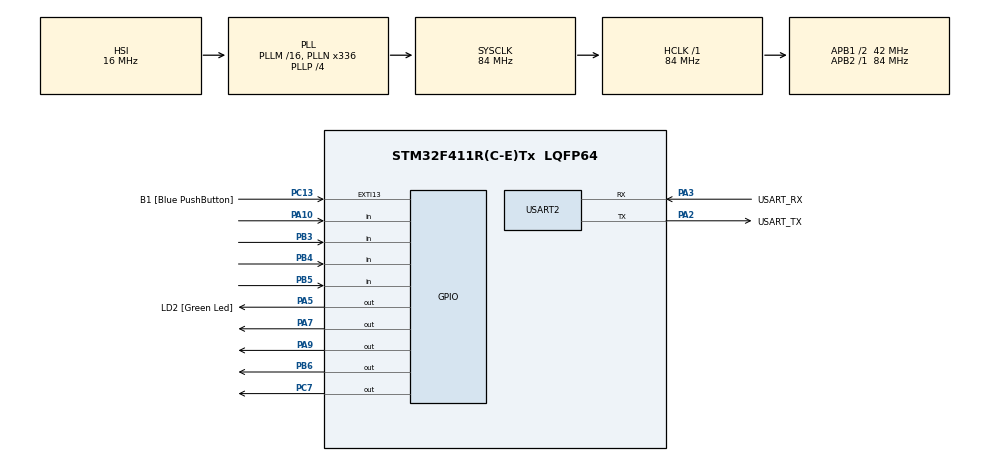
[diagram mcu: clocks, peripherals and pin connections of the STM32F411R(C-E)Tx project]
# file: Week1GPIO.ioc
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Mcu.Family=STM32F4
Mcu.Name=STM32F411R(C-E)Tx
Mcu.Package=LQFP64
NVIC.PriorityGroup=NVIC_PRIORITYGROUP_0
PA10.Signal=GPIO_Input
PA13.GPIO_Label=TMS
PA13.Mode=Serial_Wire
PA13.Signal=SYS_JTMS-SWDIO
PA14.GPIO_Label=TCK
PA14.Mode=Serial_Wire
PA14.Signal=SYS_JTCK-SWCLK
PA2.GPIO_Label=USART_TX
PA2.Mode=Asynchronous
PA2.Signal=USART2_TX
PA3.GPIO_Label=USART_RX
PA3.Mode=Asynchronous
PA3.Signal=USART2_RX
PA5.GPIO_Label=LD2 [Green Led]
PA5.Signal=GPIO_Output
PA7.Signal=GPIO_Output
PA9.Signal=GPIO_Output
PB3.Signal=GPIO_Input
PB4.Signal=GPIO_Input
PB5.Signal=GPIO_Input
PB6.Signal=GPIO_Output
PC13-ANTI_TAMP.GPIO_Label=B1 [Blue PushButton]
PC13-ANTI_TAMP.GPIO_ModeDefaultEXTI=GPIO_MODE_IT_FALLING
PC13-ANTI_TAMP.Signal=GPXTI13
PC14-OSC32_IN.Mode=LSE-External-Oscillator
PC14-OSC32_IN.Signal=RCC_OSC32_IN
PC15-OSC32_OUT.Mode=LSE-External-Oscillator
PC15-OSC32_OUT.Signal=RCC_OSC32_OUT
PC7.Signal=GPIO_Output
PH0\ -\ OSC_IN.Mode=HSE-External-Clock-Source
PH0\ -\ OSC_IN.Signal=RCC_OSC_IN
PH1\ -\ OSC_OUT.Mode=HSE-External-Clock-Source
PH1\ -\ OSC_OUT.Signal=RCC_OSC_OUT
ProjectManager.HeapSize=0x200
ProjectManager.StackSize=0x400
ProjectManager.TargetToolchain=STM32CubeIDE
RCC.48MHZClocksFreq_Value=84000000
RCC.AHBFreq_Value=84000000
RCC.APB1CLKDivider=RCC_HCLK_DIV2
RCC.APB1Freq_Value=42000000
RCC.APB1TimFreq_Value=84000000
RCC.APB2Freq_Value=84000000
RCC.APB2TimFreq_Value=84000000
RCC.CortexFreq_Value=84000000
RCC.FLatency-AdvancedSettings=FLASH_LATENCY_2
RCC.HCLKFreq_Value=84000000
RCC.HSE_VALUE=8000000
RCC.HSI_VALUE=16000000
RCC.PLLN=336
RCC.PLLP=RCC_PLLP_DIV4
RCC.SYSCLKFreq_VALUE=84000000
RCC.SYSCLKSource=RCC_SYSCLKSOURCE_PLLCLK
RCC.VCOOutputFreq_Value=336000000
USART2.VirtualMode=VM_ASYNC
board=NUCLEO-F411RE

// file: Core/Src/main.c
/* USER CODE BEGIN Header */
/**
  ******************************************************************************
  * @file           : main.c
  * @brief          : Main program body
  ******************************************************************************
  * @attention
  *
  * <h2><center>&copy; Copyright (c) 2021 STMicroelectronics.
  * All rights reserved.</center></h2>
  *
  * This software component is licensed by ST under BSD 3-Clause license,
  * the "License"; You may not use this file except in compliance with the
  * License. You may obtain a copy of the License at:
  *                        opensource.org/licenses/BSD-3-Clause
  *
  ******************************************************************************
  */
/* USER CODE END Header */
#include "main.h"

UART_HandleTypeDef huart2;

void SystemClock_Config(void);
static void MX_GPIO_Init(void);
static void MX_USART2_UART_Init(void);

int main(void)
{

  /* MCU Configuration--------------------------------------------------------*/

  /* Reset of all peripherals, Initializes the Flash interface and the Systick. */
  HAL_Init();

  /* Configure the system clock */
  SystemClock_Config();

  /* Initialize all configured peripherals */
  MX_GPIO_Init();
  MX_USART2_UART_Init();
  /* USER CODE BEGIN 2 */
  GPIO_PinState SwitchState[2]; //Now,Last
  uint16_t LED1_HalfPeriod = 1000; //Hz
  uint16_t LED3_OnPeriod = 500;
  uint16_t LED3_OffPeriod = 1500;
  uint32_t TimeStamp = 0;
  uint32_t TimeStamp_3 = 0;
  uint32_t ButtonTimeStamp = 0;
  uint32_t ButtonTimeStamp_2 = 0;
  uint32_t ButtonTimeStamp_3 = 0;
  GPIO_PinState SwitchState_2[2];
  GPIO_PinState SwitchState_3[2];
  uint16_t Mode = 1;
  /* USER CODE END 2 */

  /* Infinite loop */
  /* USER CODE BEGIN WHILE */
  while (1)
  {
	  if(HAL_GetTick() - ButtonTimeStamp >= 100)
	  {
		  ButtonTimeStamp = HAL_GetTick();
		  SwitchState[0] = HAL_GPIO_ReadPin(GPIOA, GPIO_PIN_10);
		  //HAL_GPIO_WritePin(GPIOA, GPIO_PIN_9, GPIO_PIN_RESET);
		  if(SwitchState[1]== GPIO_PIN_RESET && SwitchState[0]== GPIO_PIN_SET)
	  {

		  //change half period of LED 1
		  if(LED1_HalfPeriod == 1000)
		  {
			  LED1_HalfPeriod = 500;
		  }
		  else if(LED1_HalfPeriod == 500)
		  {
			  LED1_HalfPeriod = 250;
		  }
		  else if(LED1_HalfPeriod == 250)
		  		  {
		  			  LED1_HalfPeriod = 166;
		  		  }
		  else{
			  LED1_HalfPeriod = 1000;
		  }
	  }
	  SwitchState[1] = SwitchState[0];
	  }

	  //Run LED

	  if(HAL_GetTick() - TimeStamp >= LED1_HalfPeriod)//mS
	  {
		  TimeStamp = HAL_GetTick();
		  if(HAL_GPIO_ReadPin(GPIOA, GPIO_PIN_9)== GPIO_PIN_SET)
		  {
			  HAL_GPIO_WritePin(GPIOA, GPIO_PIN_9, GPIO_PIN_RESET);
		  }
		  else
		  {
			  HAL_GPIO_WritePin(GPIOA, GPIO_PIN_9, GPIO_PIN_SET);
		  }
	  }

	  //part2
	  if(HAL_GetTick() - ButtonTimeStamp_2 >= 100)
	  	  {
	  		  ButtonTimeStamp_2 = HAL_GetTick();
	  		  SwitchState_2[0] = HAL_GPIO_ReadPin(GPIOB, GPIO_PIN_3);
	  		  //HAL_GPIO_WritePin(GPIOA, GPIO_PIN_9, GPIO_PIN_RESET);
	  		  if(SwitchState_2[1]== GPIO_PIN_RESET && SwitchState_2[0]== GPIO_PIN_SET)
	  	  {

	  		  //On_off
	  		  if(HAL_GPIO_ReadPin(GPIOC, GPIO_PIN_7)== GPIO_PIN_SET)
	  		  {
	  			HAL_GPIO_WritePin(GPIOC, GPIO_PIN_7, GPIO_PIN_RESET);
	  		  }
	  		  else{
	  			HAL_GPIO_WritePin(GPIOC, GPIO_PIN_7, GPIO_PIN_SET);
	  		  }
	  	  }
	  	  SwitchState_2[1] = SwitchState_2[0];
	  	  }

	  //part3

	  if(HAL_GetTick() - ButtonTimeStamp_3 >= 100)
	  	  {
	  		  ButtonTimeStamp_3 = HAL_GetTick();
	  		  SwitchState_3[0] = HAL_GPIO_ReadPin(GPIOB, GPIO_PIN_5);
	  		  //HAL_GPIO_WritePin(GPIOA, GPIO_PIN_9, GPIO_PIN_RESET);
	  		  if(SwitchState_3[1]== GPIO_PIN_RESET && SwitchState_3[0]== GPIO_PIN_SET)
	  	  {

	  		  if(Mode == 1)
	  		  {
	  			LED3_OnPeriod = 1500;
	  			LED3_OffPeriod = 500;
	  			Mode = 2;
	  		  }
	  		  else{
	  			LED3_OnPeriod = 500;
	  			LED3_OffPeriod = 1500;
	  			Mode = 1;
	  		  }
	  	  }
	  	  SwitchState_3[1] = SwitchState_3[0];
	  	  }

		  if(HAL_GPIO_ReadPin(GPIOB, GPIO_PIN_6)== GPIO_PIN_SET)
		  {
			  if(HAL_GetTick() - TimeStamp_3 >= LED3_OnPeriod)//mS
			  {
				  TimeStamp_3 = HAL_GetTick();
				  HAL_GPIO_WritePin(GPIOB, GPIO_PIN_6, GPIO_PIN_RESET);
			  }
			  else
			  {
			  	   HAL_GPIO_WritePin(GPIOB, GPIO_PIN_6, GPIO_PIN_SET);
			  }
		  }
		  else{
			  if(HAL_GetTick() - TimeStamp_3 >= LED3_OffPeriod)//mS
			  {
				  TimeStamp_3 = HAL_GetTick();
				  HAL_GPIO_WritePin(GPIOB, GPIO_PIN_6, GPIO_PIN_SET);
			  }
			  else
			  {
			  	   HAL_GPIO_WritePin(GPIOB, GPIO_PIN_6, GPIO_PIN_RESET);
			  }
		  }

    /* USER CODE END WHILE */

  }
}

void SystemClock_Config(void)
{
  RCC_OscInitTypeDef RCC_OscInitStruct = {0};
  RCC_ClkInitTypeDef RCC_ClkInitStruct = {0};

  /** Configure the main internal regulator output voltage
  */
  __HAL_RCC_PWR_CLK_ENABLE();
  __HAL_PWR_VOLTAGESCALING_CONFIG(PWR_REGULATOR_VOLTAGE_SCALE1);
  /** Initializes the RCC Oscillators according to the specified parameters
  * in the RCC_OscInitTypeDef structure.
  */
  RCC_OscInitStruct.OscillatorType = RCC_OSCILLATORTYPE_HSI;
  RCC_OscInitStruct.HSIState = RCC_HSI_ON;
  RCC_OscInitStruct.HSICalibrationValue = RCC_HSICALIBRATION_DEFAULT;
  RCC_OscInitStruct.PLL.PLLState = RCC_PLL_ON;
  RCC_OscInitStruct.PLL.PLLSource = RCC_PLLSOURCE_HSI;
  RCC_OscInitStruct.PLL.PLLM = 16;
  RCC_OscInitStruct.PLL.PLLN = 336;
  RCC_OscInitStruct.PLL.PLLP = RCC_PLLP_DIV4;
  RCC_OscInitStruct.PLL.PLLQ = 4;
  if (HAL_RCC_OscConfig(&RCC_OscInitStruct) != HAL_OK)
  {
    Error_Handler();
  }
  /** Initializes the CPU, AHB and APB buses clocks
  */
  RCC_ClkInitStruct.ClockType = RCC_CLOCKTYPE_HCLK|RCC_CLOCKTYPE_SYSCLK
                              |RCC_CLOCKTYPE_PCLK1|RCC_CLOCKTYPE_PCLK2;
  RCC_ClkInitStruct.SYSCLKSource = RCC_SYSCLKSOURCE_PLLCLK;
  RCC_ClkInitStruct.AHBCLKDivider = RCC_SYSCLK_DIV1;
  RCC_ClkInitStruct.APB1CLKDivider = RCC_HCLK_DIV2;
  RCC_ClkInitStruct.APB2CLKDivider = RCC_HCLK_DIV1;

  if (HAL_RCC_ClockConfig(&RCC_ClkInitStruct, FLASH_LATENCY_2) != HAL_OK)
  {
    Error_Handler();
  }
}

static void MX_USART2_UART_Init(void)
{

  huart2.Instance = USART2;
  huart2.Init.BaudRate = 115200;
  huart2.Init.WordLength = UART_WORDLENGTH_8B;
  huart2.Init.StopBits = UART_STOPBITS_1;
  huart2.Init.Parity = UART_PARITY_NONE;
  huart2.Init.Mode = UART_MODE_TX_RX;
  huart2.Init.HwFlowCtl = UART_HWCONTROL_NONE;
  huart2.Init.OverSampling = UART_OVERSAMPLING_16;
  if (HAL_UART_Init(&huart2) != HAL_OK)
  {
    Error_Handler();
  }

}

static void MX_GPIO_Init(void)
{
  GPIO_InitTypeDef GPIO_InitStruct = {0};

  /* GPIO Ports Clock Enable */
  __HAL_RCC_GPIOC_CLK_ENABLE();
  __HAL_RCC_GPIOH_CLK_ENABLE();
  __HAL_RCC_GPIOA_CLK_ENABLE();
  __HAL_RCC_GPIOB_CLK_ENABLE();

  /*Configure GPIO pin Output Level */
  HAL_GPIO_WritePin(GPIOA, LD2_Pin|GPIO_PIN_7|GPIO_PIN_9, GPIO_PIN_RESET);

  /*Configure GPIO pin Output Level */
  HAL_GPIO_WritePin(GPIOC, GPIO_PIN_7, GPIO_PIN_RESET);

  /*Configure GPIO pin Output Level */
  HAL_GPIO_WritePin(GPIOB, GPIO_PIN_6, GPIO_PIN_RESET);

  /*Configure GPIO pin : B1_Pin */
  GPIO_InitStruct.Pin = B1_Pin;
  GPIO_InitStruct.Mode = GPIO_MODE_IT_FALLING;
  GPIO_InitStruct.Pull = GPIO_NOPULL;
  HAL_GPIO_Init(B1_GPIO_Port, &GPIO_InitStruct);

  /*Configure GPIO pins : LD2_Pin PA7 PA9 */
  GPIO_InitStruct.Pin = LD2_Pin|GPIO_PIN_7|GPIO_PIN_9;
  GPIO_InitStruct.Mode = GPIO_MODE_OUTPUT_PP;
  GPIO_InitStruct.Pull = GPIO_NOPULL;
  GPIO_InitStruct.Speed = GPIO_SPEED_FREQ_LOW;
  HAL_GPIO_Init(GPIOA, &GPIO_InitStruct);

  /*Configure GPIO pin : PC7 */
  GPIO_InitStruct.Pin = GPIO_PIN_7;
  GPIO_InitStruct.Mode = GPIO_MODE_OUTPUT_PP;
  GPIO_InitStruct.Pull = GPIO_NOPULL;
  GPIO_InitStruct.Speed = GPIO_SPEED_FREQ_LOW;
  HAL_GPIO_Init(GPIOC, &GPIO_InitStruct);

  /*Configure GPIO pin : PA10 */
  GPIO_InitStruct.Pin = GPIO_PIN_10;
  GPIO_InitStruct.Mode = GPIO_MODE_INPUT;
  GPIO_InitStruct.Pull = GPIO_NOPULL;
  HAL_GPIO_Init(GPIOA, &GPIO_InitStruct);

  /*Configure GPIO pins : PB3 PB4 PB5 */
  GPIO_InitStruct.Pin = GPIO_PIN_3|GPIO_PIN_4|GPIO_PIN_5;
  GPIO_InitStruct.Mode = GPIO_MODE_INPUT;
  GPIO_InitStruct.Pull = GPIO_NOPULL;
  HAL_GPIO_Init(GPIOB, &GPIO_InitStruct);

  /*Configure GPIO pin : PB6 */
  GPIO_InitStruct.Pin = GPIO_PIN_6;
  GPIO_InitStruct.Mode = GPIO_MODE_OUTPUT_PP;
  GPIO_InitStruct.Pull = GPIO_NOPULL;
  GPIO_InitStruct.Speed = GPIO_SPEED_FREQ_LOW;
  HAL_GPIO_Init(GPIOB, &GPIO_InitStruct);

}

void Error_Handler(void)
{
  __disable_irq();
  while (1)
  {
  }
}

/************************ (C) COPYRIGHT STMicroelectronics *****END OF FILE****/
